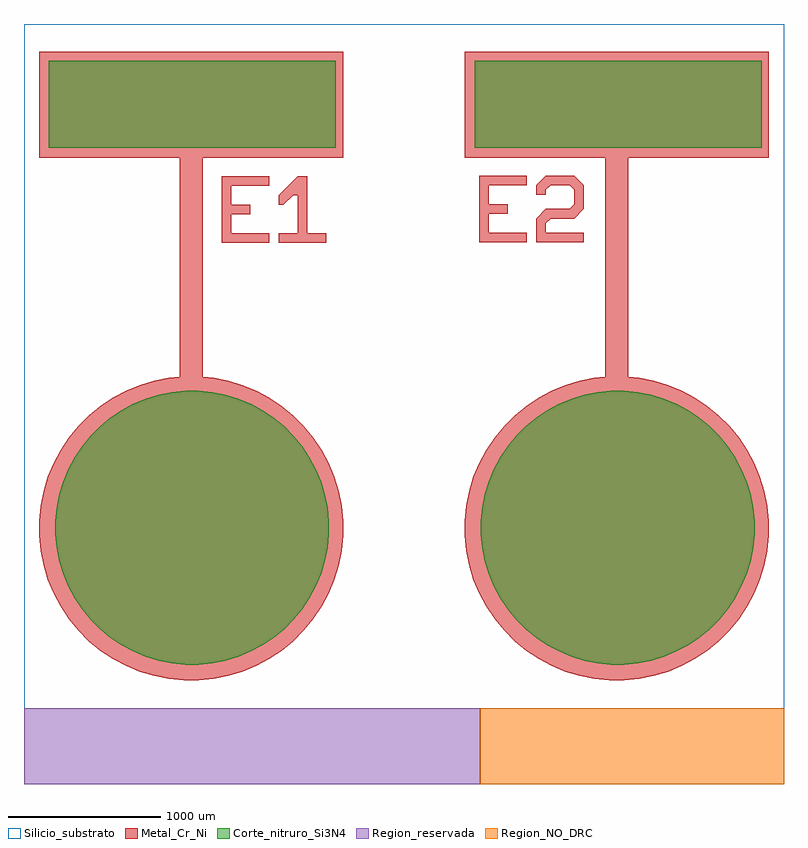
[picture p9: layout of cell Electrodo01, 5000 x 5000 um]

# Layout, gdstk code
import gdstk
lib = gdstk.Library(unit=1e-6, precision=1e-06)
def R(c, l, rs):  # rectangles x0, y0, x1, y1
    for r in rs: c.add(gdstk.rectangle(r[:2], r[2:], *l))
def P(c, l, *ps):  # polygons
    for p in ps: c.add(gdstk.Polygon(p, *l))
Silicio_substrato = (1, 1)
Region_reservada = (1, 2)
Region_NO_DRC = (1, 3)
Metal_Cr_Ni = (2, 0)
Corte_nitruro_Si3N4 = (3, 0)

chip_plantilla5x5mm_1 = lib.new_cell('Chip_Plantilla5x5mm$1')
R(chip_plantilla5x5mm_1, Silicio_substrato, [(0,0,5000,5000)])
R(chip_plantilla5x5mm_1, Region_reservada, [(0,0,3000,500)])
R(chip_plantilla5x5mm_1, Region_NO_DRC, [(3000,0,5000,500)])

text_12 = lib.new_cell('TEXT$12')
P(text_12, Metal_Cr_Ni, [(0,0),(0,438),(313,438),(313,375),(63,375),(63,250),(188,250),(188,188),(63,188),(63,63),(313,63),(313,0)],
  [(375,0),(375,63),(500,63),(500,313),(469,313),(406,250),(375,250),(375,313),(500,438),(563,438),(563,63),(688,63),(688,0)])

text_13 = lib.new_cell('TEXT$13')
P(text_13, Metal_Cr_Ni, [(0,0),(0,438),(313,438),(313,375),(63,375),(63,250),(188,250),(188,188),(63,188),(63,63),(313,63),(313,0)],
  [(375,0),(375,156),(438,219),(594,219),(625,250),(625,344),(594,375),(469,375),(438,344),(438,313),(375,313),(375,375),(438,438),(625,438),(688,375),(688,219),(625,156),(469,156),(438,125),(438,63),(688,63),(688,0)])

electrodo01 = lib.new_cell('Electrodo01')
R(electrodo01, Metal_Cr_Ni, [(1025,3398,1175,4119), (3825,3398,3975,4119), (100,4119,2100,4819), (2900,4119,4900,4819)])
P(electrodo01, Metal_Cr_Ni, [(1051,682),(953,692),(856,711),(762,740),(672,777),(585,824),(503,878),(427,940),(358,1010),(296,1086),(241,1168),(195,1254),(157,1345),(129,1439),(109,1535),(100,1633),(100,1731),(109,1829),(129,1926),(157,2020),(195,2110),(241,2197),(296,2279),(358,2355),(427,2424),(503,2486),(585,2541),(672,2587),(762,2625),(856,2654),(953,2673),(1025,2680),(1025,3398),(1175,3398),(1175,2680),(1247,2673),(1343,2654),(1437,2625),(1528,2587),(1614,2541),(1696,2486),(1772,2424),(1842,2355),(1904,2279),(1959,2197),(2005,2110),(2042,2020),(2071,1926),(2090,1829),(2100,1731),(2100,1633),(2090,1535),(2071,1439),(2042,1345),(2005,1254),(1959,1168),(1904,1086),(1842,1010),(1772,940),(1696,878),(1614,824),(1528,777),(1437,740),(1343,711),(1247,692),(1149,682)],
  [(3851,682),(3753,692),(3656,711),(3562,740),(3472,777),(3385,824),(3303,878),(3227,940),(3158,1010),(3096,1086),(3041,1168),(2995,1254),(2957,1345),(2929,1439),(2909,1535),(2900,1633),(2900,1731),(2909,1829),(2929,1926),(2957,2020),(2995,2110),(3041,2197),(3096,2279),(3158,2355),(3227,2424),(3303,2486),(3385,2541),(3472,2587),(3562,2625),(3656,2654),(3753,2673),(3825,2680),(3825,3398),(3975,3398),(3975,2680),(4047,2673),(4143,2654),(4237,2625),(4328,2587),(4414,2541),(4496,2486),(4572,2424),(4642,2355),(4704,2279),(4759,2197),(4805,2110),(4842,2020),(4871,1926),(4890,1829),(4900,1731),(4900,1633),(4890,1535),(4871,1439),(4842,1345),(4805,1254),(4759,1168),(4704,1086),(4642,1010),(4572,940),(4496,878),(4414,824),(4328,777),(4237,740),(4143,711),(4047,692),(3949,682)])
R(electrodo01, Corte_nitruro_Si3N4, [(164,4187,2052,4758), (2964,4187,4852,4758)])
P(electrodo01, Corte_nitruro_Si3N4, [(1061,786),(973,795),(887,812),(802,838),(720,872),(642,913),(569,963),(500,1019),(438,1081),(382,1149),(333,1223),(291,1301),(257,1383),(232,1467),(214,1554),(206,1642),(206,1730),(214,1818),(232,1905),(257,1990),(291,2072),(333,2150),(382,2223),(438,2291),(500,2354),(569,2410),(642,2459),(720,2501),(802,2535),(887,2560),(973,2578),(1061,2586),(1150,2586),(1238,2578),(1325,2560),(1409,2535),(1491,2501),(1569,2459),(1642,2410),(1711,2354),(1773,2291),(1829,2223),(1878,2150),(1920,2072),(1954,1990),(1980,1905),(1997,1818),(2006,1730),(2006,1642),(1997,1554),(1980,1467),(1954,1383),(1920,1301),(1878,1223),(1829,1149),(1773,1081),(1711,1019),(1642,963),(1569,913),(1491,872),(1409,838),(1325,812),(1238,795),(1150,786)],
  [(3861,786),(3773,795),(3687,812),(3602,838),(3520,872),(3442,913),(3369,963),(3300,1019),(3238,1081),(3182,1149),(3133,1223),(3091,1301),(3057,1383),(3032,1467),(3014,1554),(3006,1642),(3006,1730),(3014,1818),(3032,1905),(3057,1990),(3091,2072),(3133,2150),(3182,2223),(3238,2291),(3300,2354),(3369,2410),(3442,2459),(3520,2501),(3602,2535),(3687,2560),(3773,2578),(3861,2586),(3950,2586),(4038,2578),(4125,2560),(4209,2535),(4291,2501),(4369,2459),(4442,2410),(4511,2354),(4573,2291),(4629,2223),(4678,2150),(4720,2072),(4754,1990),(4780,1905),(4797,1818),(4806,1730),(4806,1642),(4797,1554),(4780,1467),(4754,1383),(4720,1301),(4678,1223),(4629,1149),(4573,1081),(4511,1019),(4442,963),(4369,913),(4291,872),(4209,838),(4125,812),(4038,795),(3950,786)])
electrodo01.add(gdstk.Reference(chip_plantilla5x5mm_1, (0,0)))
electrodo01.add(gdstk.Reference(text_12, (1301,3561)))
electrodo01.add(gdstk.Reference(text_13, (2995,3564)))

lib.write_gds('Electrodo01.gds')
